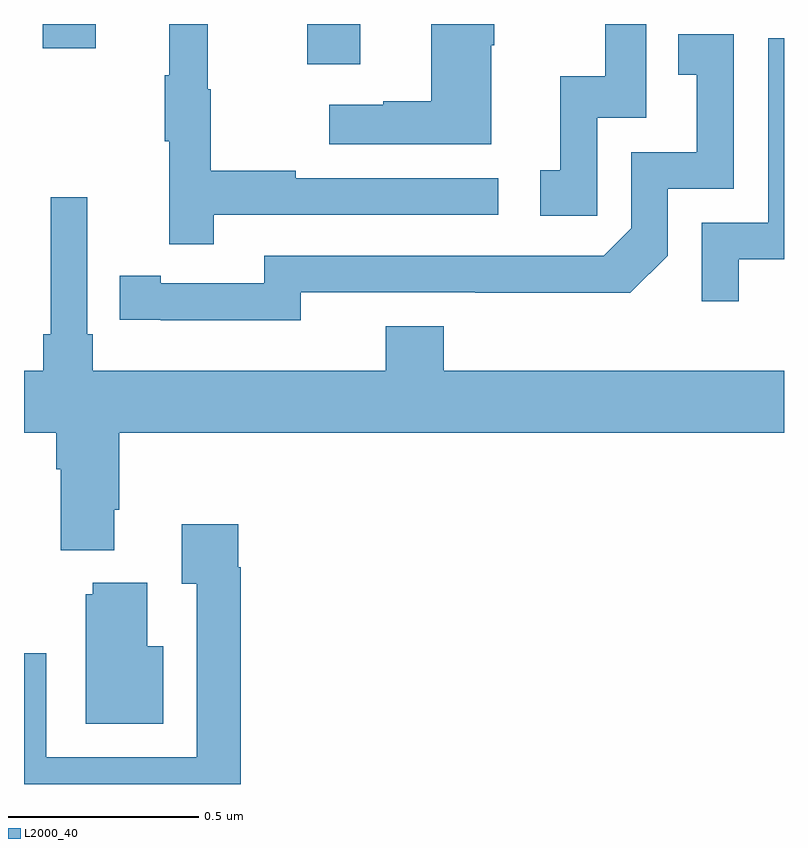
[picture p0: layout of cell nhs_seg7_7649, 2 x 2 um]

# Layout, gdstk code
import gdstk
lib = gdstk.Library(unit=1e-6, precision=1e-09)
def R(c, l, rs):  # rectangles x0, y0, x1, y1
    for r in rs: c.add(gdstk.rectangle(r[:2], r[2:], *l))
def P(c, l, *ps):  # polygons
    for p in ps: c.add(gdstk.Polygon(p, *l))
L2000_40 = (2000, 40)

nhs_seg7_7649 = lib.new_cell('nhs_seg7_7649')
R(nhs_seg7_7649, L2000_40, [(214.745,1026.894,214.885,1027), (214.049,1026.936,214.189,1027)])
P(nhs_seg7_7649, L2000_40, [(214.499,1026.498),(215.248,1026.498),(215.248,1026.594),(214.715,1026.594),(214.715,1026.614),(214.492,1026.614),(214.492,1026.828),(214.484,1026.828),(214.484,1027),(214.382,1027),(214.382,1026.865),(214.371,1026.865),(214.371,1026.691),(214.382,1026.691),(214.382,1026.42),(214.499,1026.42)],
  [(215.508,1026.753),(215.637,1026.753),(215.637,1027),(215.529,1027),(215.529,1026.862),(215.411,1026.862),(215.411,1026.615),(215.358,1026.615),(215.358,1026.495),(215.508,1026.495)],
  [(215.23,1026.944),(215.238,1026.944),(215.238,1027),(215.072,1027),(215.072,1026.797),(214.946,1026.797),(214.946,1026.787),(214.803,1026.787),(214.803,1026.683),(215.23,1026.683)],
  [(214.728,1026.294),(215.188,1026.294),(215.188,1026.293),(215.596,1026.293),(215.694,1026.39),(215.694,1026.567),(215.868,1026.567),(215.868,1026.973),(215.722,1026.973),(215.722,1026.867),(215.771,1026.867),(215.771,1026.663),(215.598,1026.663),(215.598,1026.462),(215.526,1026.39),(214.632,1026.39),(214.632,1026.318),(214.36,1026.318),(214.36,1026.338),(214.252,1026.338),(214.252,1026.222),(214.36,1026.222),(214.36,1026.221),(214.728,1026.221)],
  [(215.881,1026.381),(216,1026.381),(216,1026.963),(215.958,1026.963),(215.958,1026.477),(215.784,1026.477),(215.784,1026.27),(215.881,1026.27)],
  [(214.237,1025.722),(214.25,1025.722),(214.25,1025.924),(216,1025.924),(216,1026.088),(215.105,1026.088),(215.105,1026.205),(214.952,1026.205),(214.952,1026.088),(214.181,1026.088),(214.181,1026.184),(214.167,1026.184),(214.167,1026.544),(214.07,1026.544),(214.07,1026.184),(214.051,1026.184),(214.051,1026.088),(214,1026.088),(214,1025.924),(214.085,1025.924),(214.085,1025.828),(214.097,1025.828),(214.097,1025.615),(214.237,1025.615)],
  [(214.571,1025.57),(214.564,1025.57),(214.564,1025.683),(214.415,1025.683),(214.415,1025.527),(214.455,1025.527),(214.455,1025.07),(214.059,1025.07),(214.059,1025.344),(214,1025.344),(214,1025),(214.571,1025)],
  [(214.366,1025.362),(214.324,1025.362),(214.324,1025.53),(214.181,1025.53),(214.181,1025.499),(214.163,1025.499),(214.163,1025.159),(214.366,1025.159)])

lib.write_gds('nhs_seg7_7649.gds')
